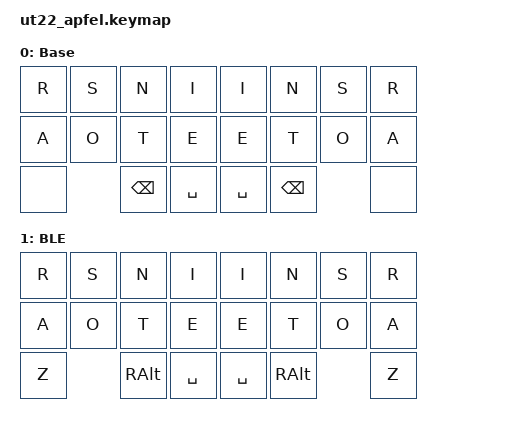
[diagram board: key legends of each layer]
/*
 * SPDX-License-Identifier: MIT
 */

#include <behaviors.dtsi>
#include <dt-bindings/zmk/keys.h>
// #include <dt-bindings/zmk/bt.h>
// #include <dt-bindings/zmk/outputs.h>


// LAYERS
// ====================================================
#define BASE    0
#define BLE     1


// Using layer taps on thumbs, having quick tap as well helps w/ repeating space/backspace
&lt { quick_tap_ms = <200>; };
// Sticky Layer Behavior - release sticky behavior after x ms
&sk { release-after-ms = <1800>; };

// TAIPO DEFINITIONS (use in conjunction with TAIPO COMBOS)
// ====================================================
// ZMK forces you to define combos in terms of HW key positions
/*
	.-----------------------------------------------------------.
	|  0  |  1  |  2  |  3  |           |  4  |  5  |  6  |  7  |
	|  8  |  9  |  10 |  11 |           |  12 |  13 |  14 |  15 |
	|  16 |-----|  17 |  18 |           |  19 |  20 |-----|  21 |
	'-----'     '-----------------------------------'     '-----'
*/
// {Top,Bottom}{Left,Right}{Index,Middle,Ring,Pinky}

// LEFT SIDE
#define TLI 3 // TOP
#define TLM 2 // TOP
#define TLR 1 // TOP
#define TLP 0 // TOP
#define BLI 11 // BOTTOM
#define BLM 10 // BOTTOM
#define BLR 9 // BOTTOM
#define BLP 8 // BOTTOM
#define LOT 18 // O-THUMB
#define LIT 17 // I-THUMB
#define LEP 16 // EXTRA PINKY

// RIGHT SIDE
#define TRI 4 // TOP
#define TRM 5 // TOP
#define TRR 6 // TOP
#define TRP 7 // TOP
#define BRI 12 // BOTTOM
#define BRM 13 // BOTTOM
#define BRR 14 // BOTTOM
#define BRP 15 // BOTTOM
#define ROT 19 // O-THUMB
#define RIT 20 // I-THUMB
#define REP 21 // EXTRA PINKY

// BEHAVIOR
// ====================================================

/{
	behaviors {
		// Enables holding the first mod-tap key
		// by performing a tap-release-hold sequence.
		// To use it: "&qt KEYCODE1 KEYCODE2"
		qt: quick_tap {
			compatible = "zmk,behavior-hold-tap";
			label = "QUICK_TAP";
			#binding-cells = <2>;
			flavor = "hold-preferred";
			tapping-term-ms = <200>;
			quick-tap-ms = <200>;
			bindings = <&kp>, <&kp>;
		};
	};


// COMBOS
// ====================================================
/*
	.-----------------------------------------------------------.
	|  0  |  1  |  2  |  3  |           |  4  |  5  |  6  |  7  |
	|  8  |  9  |  10 |  11 |           |  12 |  13 |  14 |  15 |
	|  16 |-----|  17 |  18 |           |  19 |  20 |-----|  21 |
	'-----'     '-----------------------------------'     '-----'
*/
// TAIPO COMBOS

	#define COMBO(NAME, BINDINGS, KEYPOS) \
	combo_##NAME { \
		timeout-ms = <50>; \
		bindings = <BINDINGS>; \
		key-positions = <KEYPOS>; \
	};

    combos {
        compatible = "zmk,combos";
		COMBO(1,&kp LS(E),BLI LOT)
		COMBO(2,&kp LS(E),BRI ROT)
		COMBO(3,&kp LS(T),BLM LOT)
		COMBO(4,&kp LS(T),BRM ROT)
		COMBO(5,&kp LS(O),BLR LOT)
		COMBO(6,&kp LS(O),BRR ROT)
		COMBO(7,&kp LS(A),BLP LOT)
		COMBO(8,&kp LS(A),BRP ROT)
		COMBO(9,&kp LPAR,BLI LIT)
		COMBO(10,&kp LPAR,BRI RIT)
		COMBO(11,&kp LBKT,BLM LIT)
		COMBO(12,&kp LBKT,BRM RIT)
		COMBO(13,&kp LBRC,BLR LIT)
		COMBO(14,&kp LBRC,BRR RIT)
		COMBO(15,&kp LT,BLP LIT)
		COMBO(16,&kp LT,BRP RIT)
		COMBO(17,&kp LS(I),LOT TLI)
		COMBO(18,&kp LS(I),ROT TRI)
		COMBO(19,&kp LS(N),LOT TLM)
		COMBO(20,&kp LS(N),ROT TRM)
		COMBO(21,&kp LS(S),LOT TLR)
		COMBO(22,&kp LS(S),ROT TRR)
		COMBO(23,&kp LS(R),LOT TLP)
		COMBO(24,&kp LS(R),ROT TRP)
		COMBO(25,&kp RPAR,LIT TLI)
		COMBO(26,&kp RPAR,RIT TRI)
		COMBO(27,&kp RBKT,LIT TLM)
		COMBO(28,&kp RBKT,RIT TRM)
		COMBO(29,&kp RBRC,LIT TLR)
		COMBO(30,&kp RBRC,RIT TRR)
		COMBO(31,&kp GT,LIT TLP)
		COMBO(32,&kp GT,RIT TRP)
		COMBO(33,&kp H,BLI BLM)
		COMBO(34,&kp H,BRI BRM)
		COMBO(35,&kp L,BLP BLR)
		COMBO(36,&kp L,BRP BRR)
		COMBO(37,&kp Y,TLI TLM)
		COMBO(38,&kp Y,TRI TRM)
		COMBO(39,&kp B,TLP TLR)
		COMBO(40,&kp B,TRP TRR)
		COMBO(41,&kp LS(H),BLI BLM LOT)
		COMBO(42,&kp LS(H),BRI BRM ROT)
		COMBO(43,&kp LS(L),BLP BLR LOT)
		COMBO(44,&kp LS(L),BRP BRR ROT)
		COMBO(45,&kp LS(Y),LOT TLI TLM)
		COMBO(46,&kp LS(Y),ROT TRI TRM)
		COMBO(47,&kp LS(B),LOT TLP TLR)
		COMBO(48,&kp LS(B),ROT TRP TRR)
		COMBO(49,&kp N0,BLI BLM LIT)
		COMBO(50,&kp N0,BRI BRM RIT)
		COMBO(51,&kp N4,BLP BLR LIT)
		COMBO(52,&kp N4,BRP BRR RIT)
		COMBO(53,&kp N5,LIT TLI TLM)
		COMBO(54,&kp N5,RIT TRI TRM)
		COMBO(55,&kp N9,LIT TLP TLR)
		COMBO(56,&kp N9,RIT TRP TRR)
		COMBO(57,&kp G,TLI TLP)
		COMBO(58,&kp G,TRI TRP)
		COMBO(59,&kp U,BLM BLR)
		COMBO(60,&kp U,BRM BRR)
		COMBO(61,&kp D,BLI BLP)
		COMBO(62,&kp D,BRI BRP)
		COMBO(63,&kp P,TLM TLR)
		COMBO(64,&kp P,TRM TRR)
		COMBO(65,&kp LS(G),LOT TLI TLP)
		COMBO(66,&kp LS(G),ROT TRI TRP)
		COMBO(67,&kp LS(U),BLM BLR LOT)
		COMBO(68,&kp LS(U),BRM BRR ROT)
		COMBO(69,&kp LS(D),BLI BLP LOT)
		COMBO(70,&kp LS(D),BRI BRP ROT)
		COMBO(71,&kp LS(P),LOT TLM TLR)
		COMBO(72,&kp LS(P),ROT TRM TRR)
		COMBO(73,&kp HASH,LIT TLI TLP)
		COMBO(74,&kp HASH,RIT TRI TRP)
		COMBO(75,&kp N2,BLM BLR LIT)
		COMBO(76,&kp N2,BRM BRR RIT)
		COMBO(77,&kp AT,BLI BLP LIT)
		COMBO(78,&kp AT,BRI BRP RIT)
		COMBO(79,&kp N7,LIT TLM TLR)
		COMBO(80,&kp N7,RIT TRM TRR)
		COMBO(81,&kp C,BLI BLR)
		COMBO(82,&kp C,BRI BRR)
		COMBO(83,&kp Q,BLM BLP)
		COMBO(84,&kp Q,BRM BRP)
		COMBO(85,&kp F,TLI TLR)
		COMBO(86,&kp F,TRI TRR)
		COMBO(87,&kp Z,TLM TLP)
		COMBO(88,&kp Z,TRM TRP)
		COMBO(89,&kp LS(C),BLI BLR LOT)
		COMBO(90,&kp LS(C),BRI BRR ROT)
		COMBO(91,&kp LS(Q),BLM BLP LOT)
		COMBO(92,&kp LS(Q),BRM BRP ROT)
		COMBO(93,&kp LS(F),LOT TLI TLR)
		COMBO(94,&kp LS(F),ROT TRI TRR)
		COMBO(95,&kp LS(Z),LOT TLM TLP)
		COMBO(96,&kp LS(Z),ROT TRM TRP)
		COMBO(97,&kp N1,BLI BLR LIT)
		COMBO(98,&kp N1,BRI BRR RIT)
		COMBO(99,&kp N3,BLM BLP LIT)
		COMBO(100,&kp N3,BRM BRP RIT)
		COMBO(101,&kp N6,LIT TLI TLR)
		COMBO(102,&kp N6,RIT TRI TRR)
		COMBO(103,&kp N8,LIT TLM TLP)
		COMBO(104,&kp N8,RIT TRM TRP)
		COMBO(105,&kp V,BLI TLR)
		COMBO(106,&kp V,BRI TRR)
		COMBO(107,&kp X,BLM TLP)
		COMBO(108,&kp X,BRM TRP)
		COMBO(109,&kp K,BLR TLI)
		COMBO(110,&kp K,BRR TRI)
		COMBO(111,&kp J,BLP TLM)
		COMBO(112,&kp J,BRP TRM)
		COMBO(113,&kp LS(V),BLI LOT TLR)
		COMBO(114,&kp LS(V),BRI ROT TRR)
		COMBO(115,&kp LS(X),BLM LOT TLP)
		COMBO(116,&kp LS(X),BRM ROT TRP)
		COMBO(117,&kp LS(K),BLR LOT TLI)
		COMBO(118,&kp LS(K),BRR ROT TRI)
		COMBO(119,&kp LS(J),BLP LOT TLM)
		COMBO(120,&kp LS(J),BRP ROT TRM)
		COMBO(121,&kp STAR,BLI LIT TLR)
		COMBO(122,&kp STAR,BRI RIT TRR)
		COMBO(123,&kp CARET,BLM LIT TLP)
		COMBO(124,&kp CARET,BRM RIT TRP)
		COMBO(125,&kp PLUS,BLR LIT TLI)
		COMBO(126,&kp PLUS,BRR RIT TRI)
		COMBO(127,&kp EQUAL,BLP LIT TLM)
		COMBO(128,&kp EQUAL,BRP RIT TRM)
		COMBO(129,&kp MINUS,BLR TLM)
		COMBO(130,&kp MINUS,BRR TRM)
		COMBO(131,&kp W,BLP TLI)
		COMBO(132,&kp W,BRP TRI)
		COMBO(133,&kp M,BLI TLP)
		COMBO(134,&kp M,BRI TRP)
		COMBO(135,&kp FSLH,BLM TLR)
		COMBO(136,&kp FSLH,BRM TRR)
		COMBO(137,&kp UNDER,BLR LOT TLM)
		COMBO(138,&kp UNDER,BRR ROT TRM)
		COMBO(139,&kp LS(W),BLP LOT TLI)
		COMBO(140,&kp LS(W),BRP ROT TRI)
		COMBO(141,&kp LS(M),BLI LOT TLP)
		COMBO(142,&kp LS(M),BRI ROT TRP)
		COMBO(143,&kp BSLH,BLM LOT TLR)
		COMBO(144,&kp BSLH,BRM ROT TRR)
		COMBO(145,&kp PRCNT,BLR LIT TLM)
		COMBO(146,&kp PRCNT,BRR RIT TRM)
		COMBO(147,&kp AMPS,BLP LIT TLI)
		COMBO(148,&kp AMPS,BRP RIT TRI)
		COMBO(149,&kp DLLR,BLI LIT TLP)
		COMBO(150,&kp DLLR,BRI RIT TRP)
		COMBO(151,&kp PIPE,BLM LIT TLR)
		COMBO(152,&kp PIPE,BRM RIT TRR)
		COMBO(153,&kp SQT,BLP TLR)
		COMBO(154,&kp SQT,BRP TRR)
		COMBO(155,&kp SEMI,BLR TLP)
		COMBO(156,&kp SEMI,BRR TRP)
		COMBO(157,&kp QMARK,BLM TLI)
		COMBO(158,&kp QMARK,BRM TRI)
		COMBO(159,&kp COMMA,BLI TLM)
		COMBO(160,&kp COMMA,BRI TRM)
		COMBO(161,&kp DQT,BLP LOT TLR)
		COMBO(162,&kp DQT,BRP ROT TRR)
		COMBO(163,&kp COLON,BLR LOT TLP)
		COMBO(164,&kp COLON,BRR ROT TRP)
		COMBO(165,&kp EXCL,BLM LOT TLI)
		COMBO(166,&kp EXCL,BRM ROT TRI)
		COMBO(167,&kp DOT,BLI LOT TLM)
		COMBO(168,&kp DOT,BRI ROT TRM)
		COMBO(169,&kp GRAVE,BLP LIT TLR)
		COMBO(170,&kp GRAVE,BRP RIT TRR)
		COMBO(171,&kp TILDE,BLI LIT TLM)
		COMBO(172,&kp TILDE,BRI RIT TRM)
		COMBO(173,&sk LEFT_CONTROL,BLP TLP)
		COMBO(174,&sk LEFT_CONTROL,BRP TRP)
		COMBO(175,&sk LEFT_ALT,BLR TLR)
		COMBO(176,&sk LEFT_ALT,BRR TRR)
		COMBO(177,&sk LEFT_GUI,BLM TLM)
		COMBO(178,&sk LEFT_GUI,BRM TRM)
		COMBO(179,&sk LEFT_SHIFT,BLI TLI)
		COMBO(180,&sk LEFT_SHIFT,BRI TRI)
		COMBO(181,&kp RIGHT,BLP TLP LOT)
		COMBO(182,&kp RIGHT,BRP TRP ROT)
		COMBO(183,&kp UP,BLR TLR LOT)
		COMBO(184,&kp UP,BRR TRR ROT)
		COMBO(185,&kp DOWN,BLM TLM LOT)
		COMBO(186,&kp DOWN,BRM TRM ROT)
		COMBO(187,&kp LEFT,BLI TLI LOT)
		COMBO(188,&kp LEFT,BRI TRI ROT)
		COMBO(189,&kp PG_UP,BLP TLP LIT)
		COMBO(190,&kp PG_UP,BRP TRP RIT)
		COMBO(191,&kp HOME,BLR TLR LIT)
		COMBO(192,&kp HOME,BRR TRR RIT)
		COMBO(193,&kp END,BLM TLM LIT)
		COMBO(194,&kp END,BRM TRM RIT)
		COMBO(195,&kp PG_DN,BLI TLI LIT)
		COMBO(196,&kp PG_DN,BRI TRI RIT)
		COMBO(197,&kp ENTER,BLI BLM BLR)
		COMBO(198,&kp ENTER,BRI BRM BRR)
		COMBO(199,&kp TAB,TLI TLM TLR)
		COMBO(200,&kp TAB,TRI TRM TRR)
		COMBO(201,&kp ESC,BLI BLM BLR LOT)
		COMBO(202,&kp ESC,BRI BRM BRR ROT)
		COMBO(203,&kp DEL,TLI TLM TLR LOT)
		COMBO(204,&kp DEL,TRI TRM TRR ROT)
		COMBO(205,&sk RALT,BLI BLM BLR LIT)
		COMBO(206,&sk RALT,BRI BRM BRR RIT)

    };

// KEYMAP
// ====================================================

/*  0 = Base
	.-----------------------------------------------------------.
	|  R  |  S  |  N  |  I  |           |  I  |  N  |  S  |  R  |
	|  A  |  O  |  T  |  E  |           |  E  |  T  |  O  |  A  |
	|     |-----| BKSP| SPC |           | SPC | BKSP|-----|     |
	'-----'     '-----------------------------------'     '-----'
*/
	keymap {
		compatible = "zmk,keymap";

		// LAYER: BASE 0
		default_layer {
			label = "Base";
			bindings = <
			&kp R       &kp S       &kp N       &kp I          &kp I       &kp N       &kp S       &kp R
			&kp A       &kp O       &kp T       &kp E          &kp E       &kp T       &kp O       &kp A
			&none                   &kp BKSP    &kp SPACE      &kp SPACE   &kp BKSP                &none
			>;
		};

// -----------------------------------------------------------------------------

/*  1 = Bluetooth
	.-----------------------------------------------------------.
	|  0  |  1  |  2  |  3  |           |  4  |  5  |  6  |  7  |
	|  8  |  9  |  10 |  11 |           |  12 |  13 |  14 |  15 |
	|  16 |-----|  17 |  18 |           |  19 |  20 |-----|  21 |
	'-----'     '-----------------------------------'     '-----'
*/
        // LAYER: BLE 1
		ble_layer {
			label = "BLE";
			bindings = <
			&kp R       &kp S       &kp N       &kp I          &kp I       &kp N       &kp S       &kp R
			&kp A       &kp O       &kp T       &kp E          &kp E       &kp T       &kp O       &kp A
			&kp Z                   &kp RALT    &kp SPACE      &kp SPACE   &kp RALT                &kp Z     
			>;
		};
// -----------------------------------------------------------------------------

// -----------------------------------------------------------------------------
    };
};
